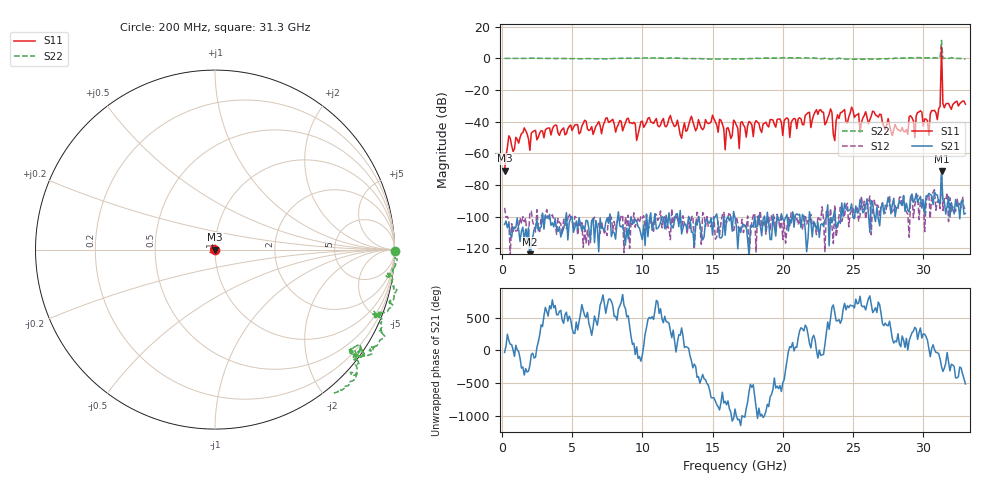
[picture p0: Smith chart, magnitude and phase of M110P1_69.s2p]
# GHZ S RI R 50
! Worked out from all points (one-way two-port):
!   329 points, 200 MHz to 33 GHz, reference 50 ohm
!   highest |S21| = -71.22 dB at 31.3 GHz (marker M1); lowest = -131.4 dB at 2 GHz (marker M2)
!   lowest |S11| = -70.9 dB at 200 MHz (marker M3), VSWR 1.00, Z = 50 + j0.0286 ohm
!   |S11| at or under -10 dB: start of sweep to 31.25 GHz; 31.35 GHz to end of sweep
!   |S22| runs from -0.6 to 11.4 dB; largest |S21 - S12| = 0.00037
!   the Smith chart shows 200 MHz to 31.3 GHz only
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0.2  -1.3e-05 0.000286  4.83e-06 -2.98e-06  -1.38e-05 1.31e-05  1.003 -0.00509
0.5  0.00356 0.000433  -5.39e-06 3.29e-06  -2.14e-06 6.8e-06  1.007 -0.0168
2  0.000779 -0.000972  -1.75e-07 2.04e-07  -1.23e-05 5.53e-06  1.015 -0.0523
5.7  -0.00728 0.000804  3.25e-06 -1.4e-06  -4.94e-06 -4.18e-06  0.9644 -0.1382
11.2  0.00309 0.00619  -4.59e-06 -1.99e-06  -7.62e-06 -4.94e-06  0.9868 -0.2865
15  0.0157 -0.00372  2.61e-06 -1.71e-07  -4e-06 5.81e-06  0.8974 -0.3581
15.9  -0.000631 -0.00114  1.42e-06 -2.15e-06  7.07e-06 -2.06e-06  0.8874 -0.351
16.6  0.00514 -0.0084  -9.34e-06 -9.38e-07  -5.01e-06 -2.11e-06  0.8909 -0.3739
16.9  -3.95e-05 -0.00142  4.04e-06 2.24e-06  -2.4e-06 -1.94e-06  0.8929 -0.3727
17.1  0.00495 -0.00872  5.22e-07 4.95e-06  8.33e-06 -9.66e-07  0.897 -0.3789
22.1  -0.0103 -0.00498  -2.28e-06 -2.5e-07  -2.93e-06 4.38e-06  0.8532 -0.5897
23.7  -0.00123 0.00221  -1.3e-05 -9.38e-06  2e-05 -1.12e-05  0.8112 -0.5624
24.9  -0.0191 0.0215  1.92e-05 -1.66e-05  -1.44e-05 -6.14e-06  0.7528 -0.578
27.6  0.00472 -0.00634  2.95e-06 2.93e-05  3.98e-05 -2.53e-05  0.7859 -0.6096
29.1  -0.00413 -0.0148  -3.62e-05 -2.3e-05  -3.6e-05 -1.11e-05  0.779 -0.6999
29.4  -0.00246 0.00193  3.4e-05 -5.36e-06  1.31e-06 2.28e-05  0.7543 -0.6832
29.8  -0.0159 -0.0153  4.12e-05 -1.5e-05  3.12e-05 1.19e-05  0.7507 -0.7364
30.4  -0.00372 -0.000215  4.69e-05 2.79e-05  4.72e-05 1.39e-05  0.7193 -0.7731
31.2  -0.0262 -0.0154  -1.73e-05 -1.88e-05  -1.81e-05 -1.31e-06  0.6602 -0.8
31.3  1.685 -1.607  -0.000105 0.000254  0.000206 5.53e-05  -3.669 0.4437
31.4  -0.0368 0.00171  2.61e-05 2.07e-05  -1.15e-05 -1.06e-05  0.6345 -0.7596
33  -0.0314 0.0171  -1.12e-05 -5.78e-06  -1.03e-05 1.55e-05  0.5579 -0.7858
